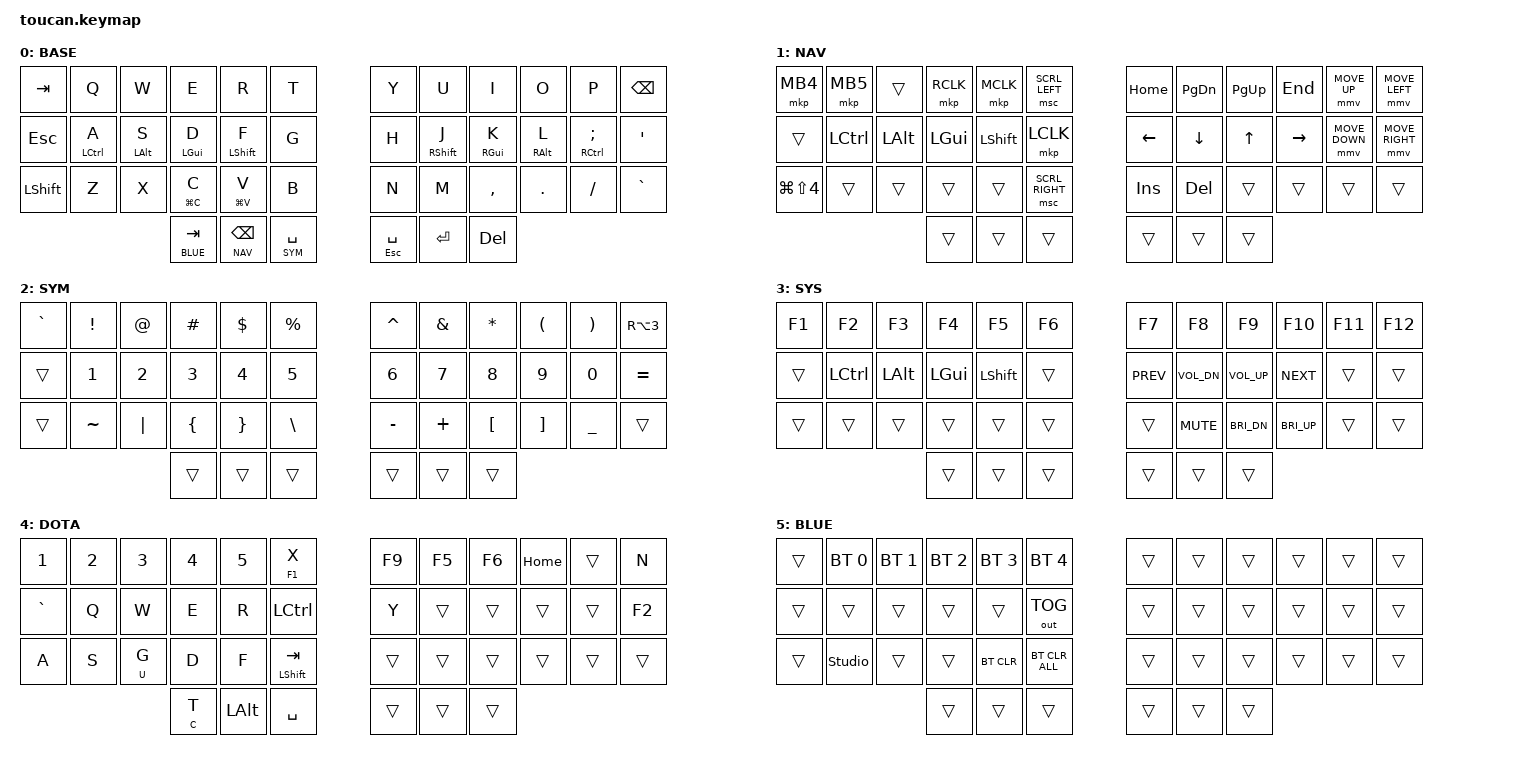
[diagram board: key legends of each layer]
#include <behaviors.dtsi>
#include <dt-bindings/zmk/keys.h>
#include <dt-bindings/zmk/bt.h>
#include <dt-bindings/zmk/outputs.h>
#include <dt-bindings/zmk/mouse.h>

#define BASE  0
#define NAV   1
#define SYM   2
#define SYS   3
#define DOTA  4
#define BLUE  5

/ {
    behaviors {
        hrm_l: homerow_mod_left {
            compatible = "zmk,behavior-hold-tap";
            #binding-cells = <2>;
            flavor = "tap-preferred";
            tapping-term-ms = <280>;
            quick-tap-ms = <175>;
            require-prior-idle-ms = <150>;
            bindings = <&kp>, <&kp>;
            hold-trigger-key-positions = <6 7 8 9 10 11 18 19 20 21 22 23 30 31 32 33 34 35 36 37 38 39 40 41>;
            hold-trigger-on-release;
        };

        hrm_r: homerow_mod_right {
            compatible = "zmk,behavior-hold-tap";
            #binding-cells = <2>;
            flavor = "tap-preferred";
            tapping-term-ms = <280>;
            quick-tap-ms = <175>;
            require-prior-idle-ms = <150>;
            bindings = <&kp>, <&kp>;
            hold-trigger-key-positions = <0 1 2 3 4 5 12 13 14 15 16 17 24 25 26 27 28 29 36 37 38 39 40 41>;
            hold-trigger-on-release;
        };

        ht: hold_tap {
            compatible = "zmk,behavior-hold-tap";
            #binding-cells = <2>;
            flavor = "tap-preferred";
            tapping-term-ms = <200>;
            bindings = <&kp>, <&kp>;
        };
    };

    combos {
        compatible = "zmk,combos";
        combo_dota_toggle {
            timeout-ms = <50>;
            key-positions = <11 41>;
            bindings = <&tog DOTA>;
        };

        combo_caps {
            timeout-ms = <50>;
            key-positions = <12 40>;
            bindings = <&kp CAPS>;
        };
    };

    conditional_layers {
        compatible = "zmk,conditional-layers";
        tri_layer {
            if-layers = <NAV SYM>;
            then-layer = <SYS>;
        };
    };

    keymap {
        compatible = "zmk,keymap";

        base {
            display-name = "BASE";
            bindings = <
  &kp TAB     &kp Q            &kp W           &kp E           &kp R            &kp T               &kp Y           &kp U            &kp I           &kp O           &kp P               &kp BSPC
  &kp ESC     &hrm_l LCTRL A   &hrm_l LALT S   &hrm_l LGUI D   &hrm_l LSHFT F   &kp G               &kp H           &hrm_r RSHFT J   &hrm_r RGUI K   &hrm_r RALT L   &hrm_r RCTRL SEMI   &kp SQT
  &kp LSHFT   &kp Z            &kp X           &ht LG(C) C     &ht LG(V) V      &kp B               &kp N           &kp M            &kp COMMA       &kp DOT         &kp FSLH            &kp GRAVE
                                               &lt BLUE TAB    &lt NAV BSPC     &lt SYM SPACE       &ht ESC SPACE   &kp RET          &kp DEL
            >;
        };

        nav {
            display-name = "NAV";
            bindings = <
  &mkp MB4         &mkp MB5    &trans     &mkp RCLK   &mkp MCLK   &msc SCRL_LEFT        &kp HOME   &kp PG_DN   &kp PG_UP   &kp END     &mmv MOVE_UP     &mmv MOVE_LEFT
  &trans           &kp LCTRL   &kp LALT   &kp LGUI    &kp LSHFT   &mkp LCLK             &kp LEFT   &kp DOWN    &kp UP      &kp RIGHT   &mmv MOVE_DOWN   &mmv MOVE_RIGHT
  &kp LG(LS(N4))   &trans      &trans     &trans      &trans      &msc SCRL_RIGHT       &kp INS    &kp DEL     &trans      &trans      &trans           &trans
                                    &trans      &trans      &trans                &trans     &trans      &trans
            >;
        };

        sym {
            display-name = "SYM";
            bindings = <
  &kp GRAVE   &kp EXCL    &kp AT     &kp HASH   &kp DLLR   &kp PRCNT       &kp CARET   &kp AMPS   &kp ASTRK   &kp LPAR   &kp RPAR    &kp RA(N3)
  &trans      &kp N1      &kp N2     &kp N3     &kp N4     &kp N5          &kp N6      &kp N7     &kp N8      &kp N9     &kp N0      &kp EQUAL
  &trans      &kp TILDE   &kp PIPE   &kp LBRC   &kp RBRC   &kp BSLH        &kp MINUS   &kp PLUS   &kp LBKT    &kp RBKT   &kp UNDER   &trans
                                     &trans     &trans     &trans          &trans      &trans     &trans
            >;
        };

        sys {
            display-name = "SYS";
            bindings = <
  &kp F1   &kp F2      &kp F3     &kp F4     &kp F5      &kp F6       &kp F7       &kp F8         &kp F9         &kp F10        &kp F11   &kp F12
  &trans   &kp LCTRL   &kp LALT   &kp LGUI   &kp LSHFT   &trans       &kp C_PREV   &kp C_VOL_DN   &kp C_VOL_UP   &kp C_NEXT     &trans    &trans
  &trans   &trans      &trans     &trans     &trans      &trans       &trans       &kp C_MUTE     &kp C_BRI_DN   &kp C_BRI_UP   &trans    &trans
                                  &trans     &trans      &trans       &trans       &trans         &trans
            >;
        };

        dota {
            display-name = "DOTA";
            bindings = <
  &kp N1      &kp N2   &kp N3   &kp N4    &kp N5        &ht F1 X        &kp F9   &kp F5   &kp F6   &kp HOME &trans   &kp N
  &kp GRAVE   &kp Q    &kp W    &kp E     &kp R         &kp LCTRL       &kp Y    &trans   &trans   &trans   &trans   &kp F2
  &kp A       &kp S    &ht U G  &kp D     &kp F         &ht LSHFT TAB   &trans   &trans   &trans   &trans   &trans   &trans
                                &ht C T   &kp LALT      &kp SPACE       &trans   &trans   &trans
            >;
        };

        blue {
            display-name = "BLUE";
            bindings = <
  &trans   &bt BT_SEL 0     &bt BT_SEL 1   &bt BT_SEL 2   &bt BT_SEL 3   &bt BT_SEL 4         &trans   &trans   &trans   &trans   &trans   &trans
  &trans   &trans           &trans         &trans         &trans         &out OUT_TOG         &trans   &trans   &trans   &trans   &trans   &trans
  &trans   &studio_unlock   &trans         &trans         &bt BT_CLR     &bt BT_CLR_ALL       &trans   &trans   &trans   &trans   &trans   &trans
                                           &trans         &trans         &trans               &trans   &trans   &trans
            >;
        };
    };
};
